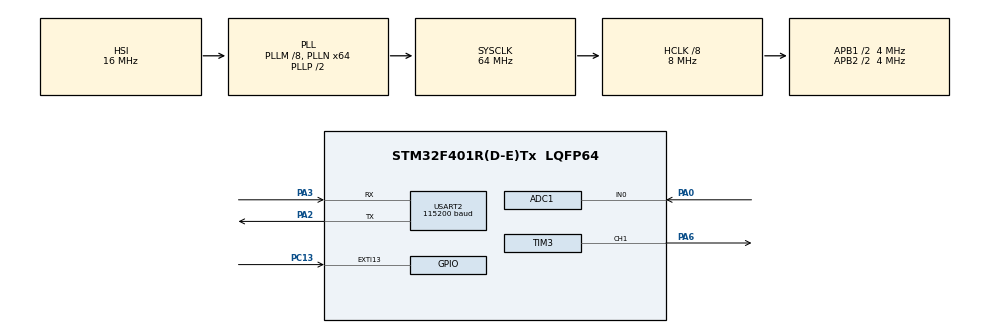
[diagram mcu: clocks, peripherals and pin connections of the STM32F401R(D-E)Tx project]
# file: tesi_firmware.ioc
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ADC1.Channel-2\#ChannelRegularConversion=ADC_CHANNEL_0
ADC1.ClockPrescaler=ADC_CLOCK_SYNC_PCLK_DIV2
ADC1.DMAContinuousRequests=ENABLE
ADC1.EOCSelection=ADC_EOC_SEQ_CONV
ADC1.ExternalTrigConv=ADC_EXTERNALTRIGCONV_T2_TRGO
ADC1.InjNumberOfConversion=0
ADC1.NbrOfConversion=1
ADC1.NbrOfConversionFlag=1
ADC1.Rank-2\#ChannelRegularConversion=1
ADC1.SamplingTime-2\#ChannelRegularConversion=ADC_SAMPLETIME_3CYCLES
ADC1.ScanConvMode=DISABLE
ADC1.master=1
Dma.ADC1.1.Direction=DMA_PERIPH_TO_MEMORY
Dma.ADC1.1.FIFOMode=DMA_FIFOMODE_DISABLE
Dma.ADC1.1.Instance=DMA2_Stream0
Dma.ADC1.1.MemDataAlignment=DMA_MDATAALIGN_WORD
Dma.ADC1.1.MemInc=DMA_MINC_ENABLE
Dma.ADC1.1.Mode=DMA_CIRCULAR
Dma.ADC1.1.PeriphDataAlignment=DMA_PDATAALIGN_WORD
Dma.ADC1.1.PeriphInc=DMA_PINC_DISABLE
Dma.ADC1.1.Priority=DMA_PRIORITY_LOW
Dma.Request0=USART2_TX
Dma.Request1=ADC1
Dma.USART2_TX.0.Direction=DMA_MEMORY_TO_PERIPH
Dma.USART2_TX.0.FIFOMode=DMA_FIFOMODE_DISABLE
Dma.USART2_TX.0.Instance=DMA1_Stream6
Dma.USART2_TX.0.MemDataAlignment=DMA_MDATAALIGN_BYTE
Dma.USART2_TX.0.MemInc=DMA_MINC_ENABLE
Dma.USART2_TX.0.Mode=DMA_NORMAL
Dma.USART2_TX.0.PeriphDataAlignment=DMA_PDATAALIGN_BYTE
Dma.USART2_TX.0.PeriphInc=DMA_PINC_DISABLE
Dma.USART2_TX.0.Priority=DMA_PRIORITY_LOW
Mcu.Family=STM32F4
Mcu.Name=STM32F401R(D-E)Tx
Mcu.Package=LQFP64
NVIC.ADC_IRQn=true\:0\:0\:false\:false\:true\:true\:true\:true
NVIC.DMA1_Stream6_IRQn=true\:0\:0\:false\:false\:true\:false\:true\:true
NVIC.DMA2_Stream0_IRQn=true\:0\:0\:false\:false\:true\:false\:true\:true
NVIC.EXTI15_10_IRQn=true\:0\:0\:false\:false\:true\:true\:true\:true
NVIC.PriorityGroup=NVIC_PRIORITYGROUP_0
NVIC.TIM3_IRQn=true\:0\:0\:false\:false\:true\:true\:true\:true
NVIC.USART2_IRQn=true\:0\:0\:false\:false\:true\:true\:true\:true
PA0-WKUP.Signal=ADCx_IN0
PA2.Mode=Asynchronous
PA2.Signal=USART2_TX
PA3.Mode=Asynchronous
PA3.Signal=USART2_RX
PA6.Signal=S_TIM3_CH1
PC13-ANTI_TAMP.Signal=GPXTI13
ProjectManager.HeapSize=0x200
ProjectManager.StackSize=0x400
ProjectManager.TargetToolchain=STM32CubeIDE
RCC.48MHZClocksFreq_Value=18285714.285714287
RCC.AHBCLKDivider=RCC_SYSCLK_DIV8
RCC.AHBFreq_Value=8000000
RCC.APB1CLKDivider=RCC_HCLK_DIV2
RCC.APB1Freq_Value=4000000
RCC.APB1TimFreq_Value=8000000
RCC.APB2CLKDivider=RCC_HCLK_DIV2
RCC.APB2Freq_Value=4000000
RCC.APB2TimFreq_Value=8000000
RCC.CortexFreq_Value=8000000
RCC.HCLKFreq_Value=8000000
RCC.HSE_VALUE=8000000
RCC.HSI_VALUE=16000000
RCC.LSE_VALUE=32768
RCC.PLLM=8
RCC.PLLN=64
RCC.PLLQ=7
RCC.SYSCLKFreq_VALUE=64000000
RCC.SYSCLKSource=RCC_SYSCLKSOURCE_PLLCLK
RCC.VCOOutputFreq_Value=128000000
SH.ADCx_IN0.0=ADC1_IN0,IN0
SH.S_TIM3_CH1.0=TIM3_CH1,Output Compare1 CH1
TIM2.AutoReloadPreload=TIM_AUTORELOAD_PRELOAD_DISABLE
TIM2.Period=63
TIM2.Prescaler=999
TIM2.TIM_MasterOutputTrigger=TIM_TRGO_UPDATE
TIM3.Channel-Output\ Compare1\ CH1=TIM_CHANNEL_1
TIM3.OCMode_1=TIM_OCMODE_TOGGLE
TIM3.Period=23999
TIM3.Prescaler=9999
TIM3.Pulse-Output\ Compare1\ CH1=1
USART2.BaudRate=115200
USART2.Mode=MODE_TX
USART2.VirtualMode=VM_ASYNC
VP_TIM2_VS_ClockSourceINT.Mode=Internal
VP_TIM3_VS_ClockSourceINT.Mode=Internal
board=NUCLEO-F401RE

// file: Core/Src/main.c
/* USER CODE BEGIN Header */

/* USER CODE END Header */
#include "main.h"
#include "adc.h"
#include "dma.h"
#include "tim.h"
#include "usart.h"
#include "gpio.h"

/* USER CODE BEGIN Includes */
#include "wearbp.h"
/* USER CODE END Includes */

/* USER CODE BEGIN PV */
WBP_System WBP;
/* USER CODE END PV */

void SystemClock_Config(void);

int main(void)
{

  /* MCU Configuration--------------------------------------------------------*/

  /* Reset of all peripherals, Initializes the Flash interface and the Systick. */
  HAL_Init();

  /* Configure the system clock */
  SystemClock_Config();

  /* Initialize all configured peripherals */
  MX_GPIO_Init();
  MX_DMA_Init();
  MX_ADC1_Init();
  MX_TIM2_Init();
  MX_USART2_UART_Init();
  MX_TIM3_Init();
  /* USER CODE BEGIN 2 */
  WBP_Init(&WBP);
  /* USER CODE END 2 */

  /* Infinite loop */
  /* USER CODE BEGIN WHILE */
  while (1)
  {
	WBP_ProcessPPG(&WBP);
    /* USER CODE END WHILE */

  }
}

void SystemClock_Config(void)
{
  RCC_OscInitTypeDef RCC_OscInitStruct = {0};
  RCC_ClkInitTypeDef RCC_ClkInitStruct = {0};

  /** Configure the main internal regulator output voltage
  */
  __HAL_RCC_PWR_CLK_ENABLE();
  __HAL_PWR_VOLTAGESCALING_CONFIG(PWR_REGULATOR_VOLTAGE_SCALE2);

  /** Initializes the RCC Oscillators according to the specified parameters
  * in the RCC_OscInitTypeDef structure.
  */
  RCC_OscInitStruct.OscillatorType = RCC_OSCILLATORTYPE_HSI;
  RCC_OscInitStruct.HSIState = RCC_HSI_ON;
  RCC_OscInitStruct.HSICalibrationValue = RCC_HSICALIBRATION_DEFAULT;
  RCC_OscInitStruct.PLL.PLLState = RCC_PLL_ON;
  RCC_OscInitStruct.PLL.PLLSource = RCC_PLLSOURCE_HSI;
  RCC_OscInitStruct.PLL.PLLM = 8;
  RCC_OscInitStruct.PLL.PLLN = 64;
  RCC_OscInitStruct.PLL.PLLP = RCC_PLLP_DIV2;
  RCC_OscInitStruct.PLL.PLLQ = 7;
  if (HAL_RCC_OscConfig(&RCC_OscInitStruct) != HAL_OK)
  {
    Error_Handler();
  }

  /** Initializes the CPU, AHB and APB buses clocks
  */
  RCC_ClkInitStruct.ClockType = RCC_CLOCKTYPE_HCLK|RCC_CLOCKTYPE_SYSCLK
                              |RCC_CLOCKTYPE_PCLK1|RCC_CLOCKTYPE_PCLK2;
  RCC_ClkInitStruct.SYSCLKSource = RCC_SYSCLKSOURCE_PLLCLK;
  RCC_ClkInitStruct.AHBCLKDivider = RCC_SYSCLK_DIV8;
  RCC_ClkInitStruct.APB1CLKDivider = RCC_HCLK_DIV2;
  RCC_ClkInitStruct.APB2CLKDivider = RCC_HCLK_DIV2;

  if (HAL_RCC_ClockConfig(&RCC_ClkInitStruct, FLASH_LATENCY_0) != HAL_OK)
  {
    Error_Handler();
  }
}

/* USER CODE BEGIN 4 */
void HAL_ADC_ConvCpltCallback(ADC_HandleTypeDef *hadc) {
	WBP_AcquireADC(&WBP);
}

void HAL_TIM_OC_DelayElapsedCallback(TIM_HandleTypeDef *htim) {
	if (
			htim->Instance == CFG_DEV_TIM_MAIN->Instance &&
			htim->Channel == HAL_TIM_ACTIVE_CHANNEL_1
		) {
		WBP_ToggleMeasurement(&WBP);
	}
}

void HAL_GPIO_EXTI_Callback(uint16_t GPIO_Pin) {
	if (GPIO_Pin == GPIO_PIN_13) {
		WBP_HandleButton(&WBP);
	}
}
/* USER CODE END 4 */

void Error_Handler(void)
{
  __disable_irq();
  while (1)
  {
  }
}
